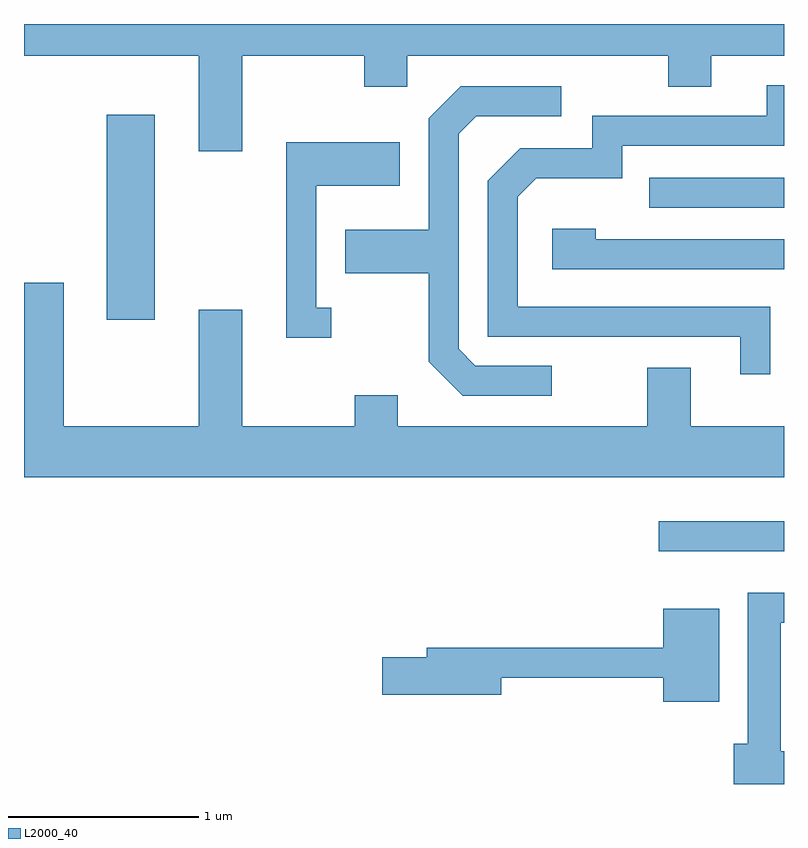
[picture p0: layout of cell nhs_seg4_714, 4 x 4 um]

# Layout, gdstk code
import gdstk
lib = gdstk.Library(unit=1e-6, precision=1e-09)
def R(c, l, rs):  # rectangles x0, y0, x1, y1
    for r in rs: c.add(gdstk.rectangle(r[:2], r[2:], *l))
def P(c, l, *ps):  # polygons
    for p in ps: c.add(gdstk.Polygon(p, *l))
L2000_40 = (2000, 40)

nhs_seg4_714 = lib.new_cell('nhs_seg4_714')
R(nhs_seg4_714, L2000_40, [(208.953,1323.206,209.611,1323.364), (206.046,1324.426,206.299,1325.504), (208.903,1325.016,209.611,1325.174)])
P(nhs_seg4_714, L2000_40, [(206.759,1325.816),(207.401,1325.816),(207.401,1325.651),(207.629,1325.651),(207.629,1325.816),(209.001,1325.816),(209.001,1325.651),(209.229,1325.651),(209.229,1325.816),(209.611,1325.816),(209.611,1325.982),(205.611,1325.982),(205.611,1325.816),(206.531,1325.816),(206.531,1325.311),(206.759,1325.311)],
  [(209.539,1324.494),(208.209,1324.494),(208.209,1325.074),(208.307,1325.171),(208.759,1325.171),(208.759,1325.341),(209.611,1325.341),(209.611,1325.659),(209.521,1325.659),(209.521,1325.499),(208.601,1325.499),(208.601,1325.329),(208.224,1325.329),(208.051,1325.157),(208.051,1324.336),(209.381,1324.336),(209.381,1324.138),(209.539,1324.138)],
  [(208.388,1324.184),(207.987,1324.184),(207.899,1324.272),(207.899,1325.404),(207.992,1325.496),(208.438,1325.496),(208.438,1325.654),(207.909,1325.654),(207.741,1325.487),(207.741,1324.899),(207.301,1324.899),(207.301,1324.671),(207.741,1324.671),(207.741,1324.204),(207.919,1324.026),(208.388,1324.026)],
  [(207.228,1324.489),(207.149,1324.489),(207.149,1325.131),(207.589,1325.131),(207.589,1325.359),(206.991,1325.359),(206.991,1324.331),(207.228,1324.331)],
  [(209.611,1324.849),(208.619,1324.849),(208.619,1324.904),(208.391,1324.904),(208.391,1324.691),(209.611,1324.691)],
  [(209.611,1323.864),(209.119,1323.864),(209.119,1324.174),(208.891,1324.174),(208.891,1323.864),(207.579,1323.864),(207.579,1324.029),(207.351,1324.029),(207.351,1323.864),(206.759,1323.864),(206.759,1324.479),(206.531,1324.479),(206.531,1323.864),(205.819,1323.864),(205.819,1324.619),(205.611,1324.619),(205.611,1323.596),(209.611,1323.596)],
  [(209.611,1322.154),(209.594,1322.154),(209.594,1322.831),(209.611,1322.831),(209.611,1322.989),(209.421,1322.989),(209.421,1322.194),(209.346,1322.194),(209.346,1321.982),(209.611,1321.982)],
  [(209.269,1322.904),(208.976,1322.904),(208.976,1322.699),(207.731,1322.699),(207.731,1322.649),(207.496,1322.649),(207.496,1322.451),(208.124,1322.451),(208.124,1322.541),(208.976,1322.541),(208.976,1322.416),(209.269,1322.416)])

lib.write_gds('nhs_seg4_714.gds')
